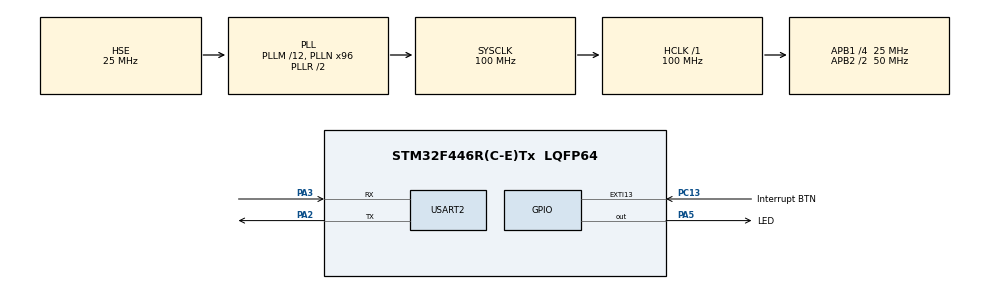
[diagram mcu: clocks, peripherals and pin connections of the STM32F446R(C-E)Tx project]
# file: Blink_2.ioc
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Mcu.Family=STM32F4
Mcu.Name=STM32F446R(C-E)Tx
Mcu.Package=LQFP64
NVIC.EXTI15_10_IRQn=true\:0\:0\:false\:false\:true\:true\:true\:true
NVIC.PriorityGroup=NVIC_PRIORITYGROUP_4
PA13.Mode=Serial_Wire
PA13.Signal=SYS_JTMS-SWDIO
PA14.Mode=Serial_Wire
PA14.Signal=SYS_JTCK-SWCLK
PA2.Mode=Asynchronous
PA2.Signal=USART2_TX
PA3.Mode=Asynchronous
PA3.Signal=USART2_RX
PA5.GPIO_Label=LED
PA5.GPIO_ModeDefaultOutputPP=GPIO_MODE_OUTPUT_PP
PA5.GPIO_PuPd=GPIO_PULLUP
PA5.PinState=GPIO_PIN_RESET
PA5.Signal=GPIO_Output
PC13.GPIO_Label=Interrupt BTN
PC13.GPIO_PuPd=GPIO_PULLUP
PC13.Signal=GPXTI13
PH0-OSC_IN.Mode=HSE-External-Oscillator
PH0-OSC_IN.Signal=RCC_OSC_IN
PH1-OSC_OUT.Mode=HSE-External-Oscillator
PH1-OSC_OUT.Signal=RCC_OSC_OUT
ProjectManager.HeapSize=0x200
ProjectManager.StackSize=0x400
ProjectManager.TargetToolchain=CMake
RCC.AHBFreq_Value=100000000
RCC.APB1CLKDivider=RCC_HCLK_DIV4
RCC.APB1Freq_Value=25000000
RCC.APB1TimFreq_Value=50000000
RCC.APB2CLKDivider=RCC_HCLK_DIV2
RCC.APB2Freq_Value=50000000
RCC.APB2TimFreq_Value=100000000
RCC.CortexFreq_Value=100000000
RCC.HCLKFreq_Value=100000000
RCC.PLLM=12
RCC.PLLN=96
RCC.PLLSourceVirtual=RCC_PLLSOURCE_HSE
RCC.SYSCLKFreq_VALUE=100000000
RCC.SYSCLKSource=RCC_SYSCLKSOURCE_PLLRCLK
RCC.USBFreq_Value=100000000
RCC.VCOOutputFreq_Value=200000000
USART2.VirtualMode=VM_ASYNC
board=custom

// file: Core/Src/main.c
/* USER CODE BEGIN Header */
/**
  ******************************************************************************
  * @file           : main.c
  * @brief          : Main program body
  ******************************************************************************
  * @attention
  *
  * Copyright (c) 2025 STMicroelectronics.
  * All rights reserved.
  *
  * This software is licensed under terms that can be found in the LICENSE file
  * in the root directory of this software component.
  * If no LICENSE file comes with this software, it is provided AS-IS.
  *
  ******************************************************************************
  */
/* USER CODE END Header */
#include "main.h"

/* USER CODE BEGIN Includes */
#include <stdio.h>
/* USER CODE END Includes */

UART_HandleTypeDef huart2;

/* USER CODE BEGIN PV */
uint8_t btn_pressed = 0;

uint16_t blink_delays[] = {500, 250, 100};

uint8_t index = 0;
/* USER CODE END PV */

void SystemClock_Config(void);
static void MX_GPIO_Init(void);
static void MX_USART2_UART_Init(void);

/* USER CODE BEGIN 0 */
// Send printf to uart1
int _write(int fd, char* ptr, int len) {
  HAL_StatusTypeDef hstatus;

  if (fd == 1 || fd == 2) {
    hstatus = HAL_UART_Transmit(&huart2, (uint8_t *) ptr, len, HAL_MAX_DELAY);
    if (hstatus == HAL_OK)
      return len;
    else
      return -1;
  }
  return -1;
}
// Interrupt handler
void HAL_GPIO_EXTI_Callback(uint16_t GPIO_Pin)
{
  // Check which pin is interrupted
  if(GPIO_Pin == Interrupt_BTN_Pin)
  {
    btn_pressed = 1;
  }
}
/* USER CODE END 0 */

int main(void)
{

  /* MCU Configuration--------------------------------------------------------*/

  /* Reset of all peripherals, Initializes the Flash interface and the Systick. */
  HAL_Init();

  /* Configure the system clock */
  SystemClock_Config();

  /* Initialize all configured peripherals */
  MX_GPIO_Init();
  MX_USART2_UART_Init();

  /* Infinite loop */
  /* USER CODE BEGIN WHILE */
  uint32_t now = 0, last_blink = 0, last_tick = 0, loop_cnt = 0;
  while (1)
  {
    // Get the current tick from the board
    now = HAL_GetTick();
    if(now - last_blink >= blink_delays[index])
    {
      // Toggle GPIO if condition is true
      HAL_GPIO_TogglePin(LED_GPIO_Port, LED_Pin);
      // Update last_blink
      last_blink = now;
    }
    if(now - last_tick >= 1000)
    {
      printf("Tick %lu (loop count = %lu)\n", now / 1000, loop_cnt);
    }
    if(btn_pressed == 1)
    {
      //printf("0\n");
      index++;
      if(index > sizeof(blink_delays) / sizeof(blink_delays[0]))
      {
        index = 0;
      }

      btn_pressed = 0;
    }
    loop_cnt++;
    /* USER CODE END WHILE */

  }
}

void SystemClock_Config(void)
{
  RCC_OscInitTypeDef RCC_OscInitStruct = {0};
  RCC_ClkInitTypeDef RCC_ClkInitStruct = {0};

  /** Configure the main internal regulator output voltage
  */
  __HAL_RCC_PWR_CLK_ENABLE();
  __HAL_PWR_VOLTAGESCALING_CONFIG(PWR_REGULATOR_VOLTAGE_SCALE3);

  /** Initializes the RCC Oscillators according to the specified parameters
  * in the RCC_OscInitTypeDef structure.
  */
  RCC_OscInitStruct.OscillatorType = RCC_OSCILLATORTYPE_HSE;
  RCC_OscInitStruct.HSEState = RCC_HSE_ON;
  RCC_OscInitStruct.PLL.PLLState = RCC_PLL_ON;
  RCC_OscInitStruct.PLL.PLLSource = RCC_PLLSOURCE_HSE;
  RCC_OscInitStruct.PLL.PLLM = 12;
  RCC_OscInitStruct.PLL.PLLN = 96;
  RCC_OscInitStruct.PLL.PLLP = RCC_PLLP_DIV2;
  RCC_OscInitStruct.PLL.PLLQ = 2;
  RCC_OscInitStruct.PLL.PLLR = 2;
  if (HAL_RCC_OscConfig(&RCC_OscInitStruct) != HAL_OK)
  {
    Error_Handler();
  }

  /** Initializes the CPU, AHB and APB buses clocks
  */
  RCC_ClkInitStruct.ClockType = RCC_CLOCKTYPE_HCLK|RCC_CLOCKTYPE_SYSCLK
                              |RCC_CLOCKTYPE_PCLK1|RCC_CLOCKTYPE_PCLK2;
  RCC_ClkInitStruct.SYSCLKSource = RCC_SYSCLKSOURCE_PLLRCLK;
  RCC_ClkInitStruct.AHBCLKDivider = RCC_SYSCLK_DIV1;
  RCC_ClkInitStruct.APB1CLKDivider = RCC_HCLK_DIV4;
  RCC_ClkInitStruct.APB2CLKDivider = RCC_HCLK_DIV2;

  if (HAL_RCC_ClockConfig(&RCC_ClkInitStruct, FLASH_LATENCY_3) != HAL_OK)
  {
    Error_Handler();
  }
}

static void MX_USART2_UART_Init(void)
{

  huart2.Instance = USART2;
  huart2.Init.BaudRate = 115200;
  huart2.Init.WordLength = UART_WORDLENGTH_8B;
  huart2.Init.StopBits = UART_STOPBITS_1;
  huart2.Init.Parity = UART_PARITY_NONE;
  huart2.Init.Mode = UART_MODE_TX_RX;
  huart2.Init.HwFlowCtl = UART_HWCONTROL_NONE;
  huart2.Init.OverSampling = UART_OVERSAMPLING_16;
  if (HAL_UART_Init(&huart2) != HAL_OK)
  {
    Error_Handler();
  }

}

static void MX_GPIO_Init(void)
{
  GPIO_InitTypeDef GPIO_InitStruct = {0};

  /* GPIO Ports Clock Enable */
  __HAL_RCC_GPIOC_CLK_ENABLE();
  __HAL_RCC_GPIOH_CLK_ENABLE();
  __HAL_RCC_GPIOA_CLK_ENABLE();

  /*Configure GPIO pin Output Level */
  HAL_GPIO_WritePin(LED_GPIO_Port, LED_Pin, GPIO_PIN_RESET);

  /*Configure GPIO pin : Interrupt_BTN_Pin */
  GPIO_InitStruct.Pin = Interrupt_BTN_Pin;
  GPIO_InitStruct.Mode = GPIO_MODE_IT_RISING;
  GPIO_InitStruct.Pull = GPIO_NOPULL;
  HAL_GPIO_Init(Interrupt_BTN_GPIO_Port, &GPIO_InitStruct);

  /*Configure GPIO pin : LED_Pin */
  GPIO_InitStruct.Pin = LED_Pin;
  GPIO_InitStruct.Mode = GPIO_MODE_OUTPUT_PP;
  GPIO_InitStruct.Pull = GPIO_PULLUP;
  GPIO_InitStruct.Speed = GPIO_SPEED_FREQ_LOW;
  HAL_GPIO_Init(LED_GPIO_Port, &GPIO_InitStruct);

  /* EXTI interrupt init*/
  HAL_NVIC_SetPriority(EXTI15_10_IRQn, 0, 0);
  HAL_NVIC_EnableIRQ(EXTI15_10_IRQn);

}

void Error_Handler(void)
{
  __disable_irq();
  while (1)
  {
  }
}
